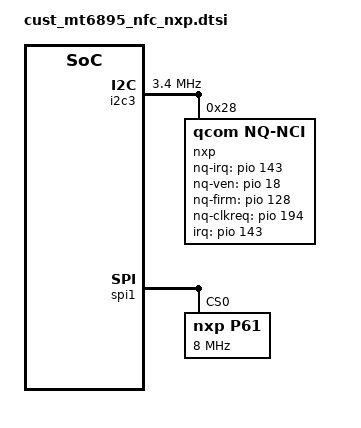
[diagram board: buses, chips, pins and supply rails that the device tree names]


//NFCC for Mediateckstart
&i2c3 {
    status = "okay";
    clock-frequency = <3400000>;
    nxp@28 {
        compatible = "qcom,nq-nci";
        reg = <0x28>;
        qcom,nq-irq         = <&pio 143 0x00>;
        interrupt-parent    = <&pio>;
        interrupts          = <143 IRQ_TYPE_LEVEL_HIGH 143 0>;
        qcom,nq-ven         = <&pio 18 0x0>;
        qcom,nq-firm        = <&pio 128 0x0>;
        qcom,nq-clkreq      = <&pio 194 0x0>;

        interrupt-names = "nfc_irq";
        pinctrl-names   = "default", "nfc_active", "nfc_suspend";

        pinctrl-0 = <&nfc_default>;
        pinctrl-1 = <&nfc_int_active &nfc_enable_active
                    &nfc_clk_req_active &nfc_firmwaredownload_active>;
        pinctrl-2 = <&nfc_int_suspend &nfc_enable_suspend
                    &nfc_clk_req_suspend &nfc_firmwaredownload_suspend>;
    };
};

&clock_buffer_ctrl {
    mediatek,xo-bbck4 = <1>;
};

&pio {
    nfc_default: nfc_default {
    };
    nfc_int_active: nfc_int_active {
        pins_cmd_dat {
            pinmux = <PINMUX_GPIO143__FUNC_GPIO143>;
            slew-rate = <0>;
            drive-strength = <MTK_DRIVE_2mA>;
            bias-pull-up;
        };
    };
    nfc_int_suspend: nfc_int_suspend {
        pins_cmd_dat {
            pinmux = <PINMUX_GPIO143__FUNC_GPIO143>;
            slew-rate = <0>;
            drive-strength = <MTK_DRIVE_2mA>;
            bias-pull-up;
        };
    };

    nfc_enable_active: nfc_enable_active {
        pins_cmd_dat {
            pinmux = <PINMUX_GPIO18__FUNC_GPIO18>;
            slew-rate = <1>;
            output-high;
            drive-strength = <MTK_DRIVE_2mA>;
            bias-pull-up=<MTK_PUPD_SET_R1R0_11>;
        };
    };
    nfc_enable_suspend: nfc_enable_suspend {
        pins_cmd_dat {
            pinmux = <PINMUX_GPIO18__FUNC_GPIO18>;
            slew-rate = <1>;
            drive-strength = <MTK_DRIVE_2mA>;
            bias-disable;
        };
    };

    nfc_firmwaredownload_active: nfc_firmwaredownload_active {
        pins_cmd_dat {
            pinmux = <PINMUX_GPIO128__FUNC_GPIO128>;
            slew-rate = <1>;
            drive-strength = <MTK_DRIVE_2mA>;
            bias-pull-up;
        };
    };
    nfc_firmwaredownload_suspend: nfc_firmwaredownload_suspend {
        pins_cmd_dat {
            pinmux = <PINMUX_GPIO128__FUNC_GPIO128>;
            slew-rate = <1>;
            drive-strength = <MTK_DRIVE_2mA>;
            bias-disable;
        };
    };

    nfc_clk_req_active: nfc_clk_req_active {
        pins_cmd_dat {
            pinmux = <PINMUX_GPIO194__FUNC_SRCLKENAI0>;
            slew-rate = <0>;
            input-enable;
            drive-strength = <MTK_DRIVE_2mA>;
            bias-pull-up;
        };
    };
    nfc_clk_req_suspend: nfc_clk_req_suspend {
        pins_cmd_dat {
            pinmux = <PINMUX_GPIO194__FUNC_SRCLKENAI0>;
            slew-rate = <0>;
            input-enable;
            drive-strength = <MTK_DRIVE_2mA>;
            bias-pull-down;
        };
    };
};
//NFCC end 

/* eSE SPI configuration */
&spi1 {
    #address-cells = <1>;
    #size-cells = <0>;
    p61@31 {
        compatible = "nxp,p61";
        reg = <0>;
        spi-max-frequency = <8000000>;
        status = "okay";
        pinctrl-names = "nxp_ese_spi_mode";
        pinctrl-0 = <&nxp_ese_spi_mode>;
    };
};

&pio {
    nxp_ese_spi_mode: nxp_ese_spi_mode {
        pins_cmd_dat {
            pinmux = <PINMUX_GPIO27__FUNC_SPI1_A_MI>,
                    <PINMUX_GPIO28__FUNC_SPI1_A_MO>,
                    <PINMUX_GPIO25__FUNC_SPI1_A_CLK>,
                    <PINMUX_GPIO26__FUNC_SPI1_A_CSB>;
            drive-strength = <6>;
        };
    };
};
/* eSE SPI configuration -- end */
